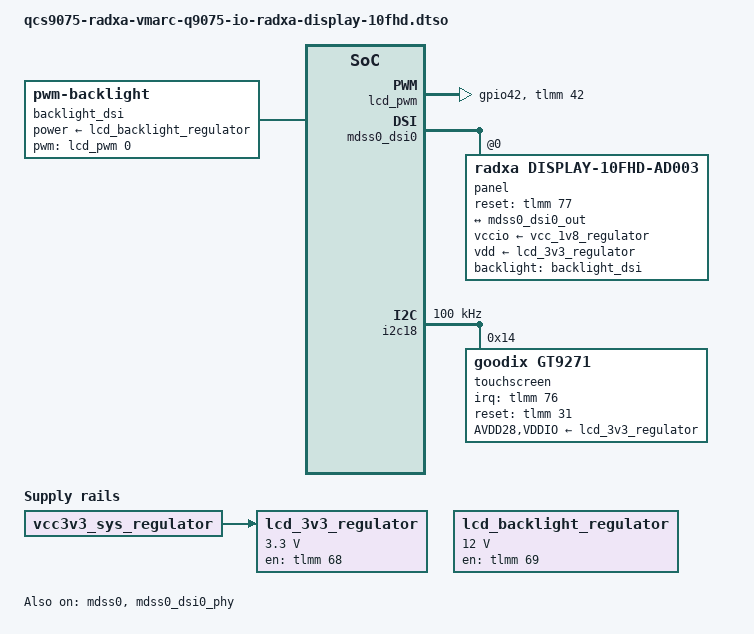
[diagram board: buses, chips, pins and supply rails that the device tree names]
// SPDX-License-Identifier: BSD-3-Clause
/*
 * Copyright (c) 2026 Radxa Computer (Shenzhen) Co., Ltd.
 */

/dts-v1/;
/plugin/;

#include <dt-bindings/gpio/gpio.h>
#include <dt-bindings/interrupt-controller/irq.h>
#include <dt-bindings/clock/qcom,sa8775p-gcc.h>
#include <dt-bindings/pwm/pwm.h>

/ {
	metadata {
		title = "Enable Radxa Display 10FHD";
		compatible = "radxa,vmarc-q9075-io";
		category = "display";
		exclusive = "mdss0_dsi0", "gpio68", "gpio69", "gpio42", "gpio77", "gpio76", "gpio31";
		description = "Enable Radxa Display 10FHD.";
	};
};

&{/} {
	lcd_3v3_regulator: lcd-3v3-regulator {
		compatible = "regulator-fixed";
		regulator-name = "lcd_3v3";
		regulator-min-microvolt = <3300000>;
		regulator-max-microvolt = <3300000>;
		startup-delay-us = <100000>;
		gpio = <&tlmm 68 GPIO_ACTIVE_HIGH>;
		enable-active-high;
		vin-supply = <&vcc3v3_sys_regulator>;
		pinctrl-names = "default";
		pinctrl-0 = <&lcd_3v3_enable>;
	};

	lcd_backlight_regulator: lcd-backlight-regulator {
		compatible = "regulator-fixed";
		regulator-name = "lcd_backlight_12v";
		regulator-min-microvolt = <12000000>;
		regulator-max-microvolt = <12000000>;
		gpio = <&tlmm 69 GPIO_ACTIVE_HIGH>;
		enable-active-high;
		pinctrl-names = "default";
		pinctrl-0 = <&lcd_backlight_enable>;
	};

	lcd_pwm: pwm {
		compatible = "clk-pwm";
		#pwm-cells = <2>;
		clocks = <&gcc GCC_GP5_CLK>;
		gpios = <&tlmm 42 GPIO_ACTIVE_HIGH>;
		pinctrl-names = "default", "gpio";
		pinctrl-0 = <&lcd_backlight_pwm_clk>;
		pinctrl-1 = <&lcd_backlight_pwm_gpio>;
	};

	backlight_dsi: backlight-dsi {
		compatible = "pwm-backlight";
		pwms = <&lcd_pwm 0 25000>;
		brightness-levels = <
			0 129 591 1443 2717 4438
			6629 9305 12482 16174 20393 25151
			30457 36321 42753 49761 57352 65535
		>;
		num-interpolated-steps = <15>;
		default-brightness-level = <250>;
		power-supply = <&lcd_backlight_regulator>;
	};
};

&mdss0 {
	status = "okay";
};

&mdss0_dsi0 {
	vdda-supply = <&vreg_l1c>;
	#address-cells = <1>;
	#size-cells = <0>;
	status = "okay";

	panel: panel@0 {
		compatible = "radxa,display-10fhd-ad003";
		reg = <0>;
		backlight = <&backlight_dsi>;
		vccio-supply = <&vcc_1v8_regulator>;
		vdd-supply = <&lcd_3v3_regulator>;
		reset-gpios = <&tlmm 77 GPIO_ACTIVE_HIGH>;
		pinctrl-names = "default";
		pinctrl-0 = <&lcd_panel_reset>;

		port {
			panel_in: endpoint {
				remote-endpoint = <&mdss0_dsi0_out>;
			};
		};
	};
};

&mdss0_dsi0_out {
	remote-endpoint = <&panel_in>;
	data-lanes = <0 1 2 3>;
};

&mdss0_dsi0_phy {
	vdds-supply = <&vreg_l4a>;
	status = "okay";
};

&i2c18 {
	clock-frequency = <100000>;
	#address-cells = <1>;
	#size-cells = <0>;
	pinctrl-names = "default";
	pinctrl-0 = <&qup_i2c18_default>;
	status = "okay";

	touchscreen@14 {
		compatible = "goodix,gt9271";
		reg = <0x14>;

		interrupt-parent = <&tlmm>;
		interrupts = <76 IRQ_TYPE_EDGE_FALLING>;

		irq-gpios = <&tlmm 76 GPIO_ACTIVE_HIGH>;
		reset-gpios = <&tlmm 31 GPIO_ACTIVE_HIGH>;

		AVDD28-supply = <&lcd_3v3_regulator>;
		VDDIO-supply = <&lcd_3v3_regulator>;

		pinctrl-names = "default";
		pinctrl-0 = <&touchscreen_interrupt>, <&touchscreen_reset>;
	};
};

&tlmm {
	lcd_3v3_enable: lcd-3v3-enable-state {
		pins = "gpio68";
		function = "gpio";
		drive-strength = <2>;
		bias-disable;
	};

	lcd_backlight_enable: lcd-backlight-enable-state {
		pins = "gpio69";
		function = "gpio";
		drive-strength = <2>;
		bias-disable;
	};

	lcd_backlight_pwm_clk: lcd-backlight-pwm-clk-state {
		pins = "gpio42";
		function = "gcc_gp5";
		drive-strength = <2>;
		bias-disable;
	};

	lcd_backlight_pwm_gpio: lcd-backlight-pwm-gpio-state {
		pins = "gpio42";
		function = "gpio";
		drive-strength = <2>;
		bias-disable;
	};

	lcd_panel_reset: lcd-panel-reset-state {
		pins = "gpio77";
		function = "gpio";
		drive-strength = <8>;
		bias-disable;
	};

	touchscreen_interrupt: touchscreen-interrupt-state {
		pins = "gpio76";
		function = "gpio";
		bias-disable;
	};

	touchscreen_reset: touchscreen-reset-state {
		pins = "gpio31";
		function = "gpio";
		drive-strength = <2>;
		bias-disable;
	};
};
